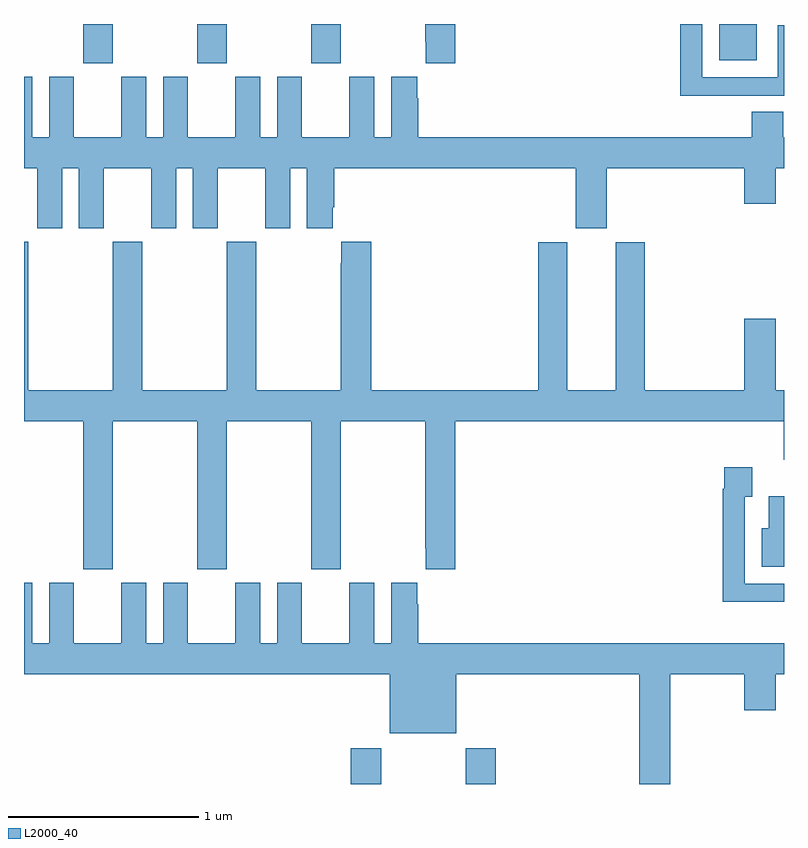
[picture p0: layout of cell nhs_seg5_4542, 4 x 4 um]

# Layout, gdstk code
import gdstk
lib = gdstk.Library(unit=1e-6, precision=1e-09)
def R(c, l, rs):  # rectangles x0, y0, x1, y1
    for r in rs: c.add(gdstk.rectangle(r[:2], r[2:], *l))
def A(c, l, x, y, w, h, nx, ny, dx, dy):  # array of equal rectangles
    R(c, l, [(x+i*dx, y+j*dy, x+i*dx+w, y+j*dy+h) for i in range(nx) for j in range(ny)])
def P(c, l, *ps):  # polygons
    for p in ps: c.add(gdstk.Polygon(p, *l))
L2000_40 = (2000, 40)

nhs_seg5_4542 = lib.new_cell('nhs_seg5_4542')
A(nhs_seg5_4542, L2000_40, 377.311, 910.593, 0.155, 0.206, 3, 1, 0.6, 0)
R(nhs_seg5_4542, L2000_40, [(378.719,906.799,378.879,906.988), (379.324,906.799,379.484,906.988), (380.66,910.607,380.857,910.799)])
P(nhs_seg5_4542, L2000_40, [(380.747,910.422),(381,910.422),(381,910.792),(380.967,910.792),(380.967,910.518),(380.571,910.518),(380.571,910.799),(380.455,910.799),(380.455,910.421),(380.747,910.421)],
  [(379.271,910.799),(379.111,910.799),(379.111,910.705),(379.115,910.705),(379.115,910.593),(379.271,910.593)],
  [(377.2,910.04),(377.288,910.04),(377.288,909.723),(377.419,909.723),(377.419,910.04),(377.669,910.04),(377.669,909.723),(377.8,909.723),(377.8,910.04),(377.888,910.04),(377.888,909.723),(378.019,909.723),(378.019,910.04),(378.269,910.04),(378.269,909.723),(378.4,909.723),(378.4,910.04),(378.488,910.04),(378.488,909.723),(378.625,909.723),(378.625,909.835),(378.632,909.835),(378.632,910.04),(379.904,910.04),(379.904,909.723),(380.068,909.723),(380.068,910.04),(380.792,910.04),(380.792,909.852),(380.956,909.852),(380.956,910.04),(381,910.04),(381,910.204),(380.996,910.204),(380.996,910.337),(380.831,910.337),(380.831,910.204),(379.076,910.204),(379.076,910.409),(379.069,910.409),(379.069,910.522),(378.932,910.522),(378.932,910.204),(378.844,910.204),(378.844,910.522),(378.713,910.522),(378.713,910.204),(378.463,910.204),(378.463,910.522),(378.332,910.522),(378.332,910.204),(378.244,910.204),(378.244,910.522),(378.113,910.522),(378.113,910.204),(377.863,910.204),(377.863,910.522),(377.732,910.522),(377.732,910.204),(377.644,910.204),(377.644,910.522),(377.513,910.522),(377.513,910.204),(377.263,910.204),(377.263,910.522),(377.132,910.522),(377.132,910.204),(377.044,910.204),(377.044,910.522),(377,910.522),(377,910.04),(377.069,910.04),(377.069,909.723),(377.2,909.723)],
  [(377.466,908.708),(377.911,908.708),(377.911,907.929),(378.066,907.929),(378.066,908.708),(378.511,908.708),(378.511,907.929),(378.666,907.929),(378.666,908.708),(379.111,908.708),(379.111,908.041),(379.115,908.041),(379.115,907.929),(379.271,907.929),(379.271,908.708),(380.999,908.708),(380.999,908.506),(381,908.506),(381,908.872),(380.956,908.872),(380.956,909.247),(380.792,909.247),(380.792,908.872),(380.267,908.872),(380.267,909.651),(380.114,909.651),(380.114,908.872),(379.858,908.872),(379.858,909.651),(379.706,909.651),(379.706,908.872),(378.827,908.872),(378.827,909.652),(378.671,909.652),(378.671,909.539),(378.667,909.539),(378.667,908.872),(378.222,908.872),(378.222,909.652),(378.067,909.652),(378.067,908.872),(377.622,908.872),(377.622,909.652),(377.467,909.652),(377.467,908.872),(377.022,908.872),(377.022,909.652),(377,909.652),(377,908.708),(377.311,908.708),(377.311,907.929),(377.466,907.929)],
  [(380.969,907.758),(381,907.758),(381,907.854),(380.793,907.854),(380.793,908.311),(380.833,908.311),(380.833,908.467),(380.685,908.467),(380.685,908.354),(380.677,908.354),(380.677,907.757),(380.969,907.757)],
  [(381,908.314),(380.921,908.314),(380.921,908.146),(380.882,908.146),(380.882,907.943),(381,907.943)],
  [(380.401,907.376),(380.792,907.376),(380.792,907.188),(380.956,907.188),(380.956,907.376),(381,907.376),(381,907.54),(379.076,907.54),(379.076,907.745),(379.069,907.745),(379.069,907.858),(378.932,907.858),(378.932,907.54),(378.844,907.54),(378.844,907.858),(378.713,907.858),(378.713,907.54),(378.463,907.54),(378.463,907.858),(378.332,907.858),(378.332,907.54),(378.244,907.54),(378.244,907.858),(378.113,907.858),(378.113,907.54),(377.863,907.54),(377.863,907.858),(377.732,907.858),(377.732,907.54),(377.644,907.54),(377.644,907.858),(377.513,907.858),(377.513,907.54),(377.263,907.54),(377.263,907.858),(377.132,907.858),(377.132,907.54),(377.044,907.54),(377.044,907.858),(377,907.858),(377,907.376),(378.926,907.376),(378.926,907.067),(379.276,907.067),(379.276,907.376),(380.237,907.376),(380.237,906.799),(380.401,906.799)])

lib.write_gds('nhs_seg5_4542.gds')
